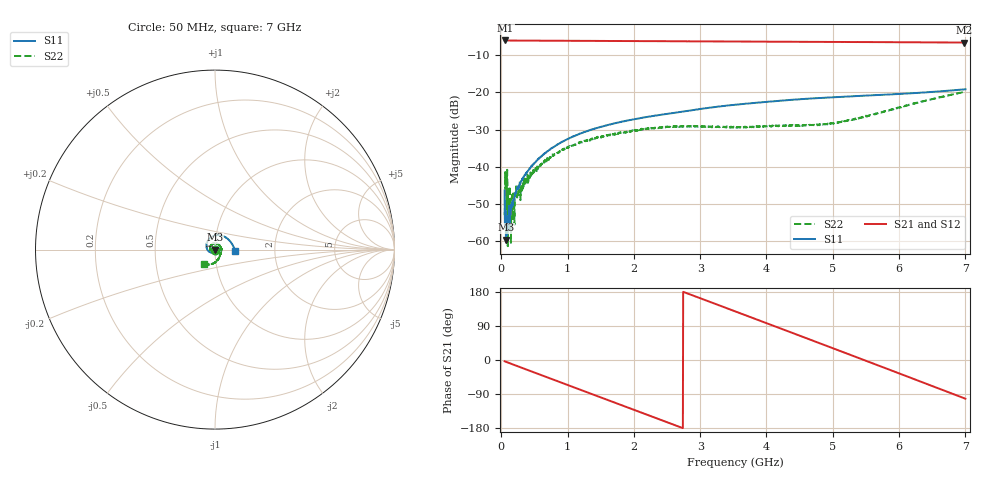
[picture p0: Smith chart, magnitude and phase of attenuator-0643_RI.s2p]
! Params: S11 S21 S12 S22
! Start frequency: 0.050000000 GHz
! Stop frequency:  7.000000000 GHz
! Points: 1601
# HZ S RI R 50
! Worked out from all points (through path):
!   1601 points, 50 MHz to 7 GHz, reference 50 ohm
!   highest |S21| = -6.01 dB at 58.69 MHz (marker M1); lowest = -6.6 dB at 6.974 GHz (marker M2)
!   group delay of S21, straight-line fit = 183 ps
!   lowest |S11| = -59.6 dB at 71.72 MHz (marker M3), VSWR 1.00, Z = 50 - j0.102 ohm
!   |S11| at or under -10 dB: start of sweep to end of sweep
!   |S22| runs from -61.3 to -19.7 dB; largest |S21 - S12| = 0.0015
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5e7  -0.00257 -0.00408  0.4987 -0.0293  0.4986 -0.0292  -0.00102 -0.002
5.86875e7  0.000963 -0.00175  0.4993 -0.0344  0.4993 -0.0345  -0.00732 0.00431
7.171875e7  -0.000214 -0.00102  0.4984 -0.0423  0.4983 -0.042  -0.000729 -0.00402
9.34375e7  0.000876 -0.00172  0.4968 -0.0544  0.4965 -0.0543  0.000241 -0.00498
1.02125e8  3.6e-05 -0.00219  0.4953 -0.0595  0.4959 -0.0595  0.00343 -0.00372
1.108125e8  -0.000512 -0.00196  0.4958 -0.0643  0.4953 -0.0642  0.00261 -0.00187
1.672812e8  -0.0006 -0.00308  0.4895 -0.0969  0.4895 -0.097  0.00245 -0.00306
2.498125e8  -0.000453 -0.005  0.4778 -0.1425  0.478 -0.1425  0.00235 -0.00433
4.84375e8  -0.00333 -0.0103  0.4216 -0.2643  0.4221 -0.2641  -0.00196 -0.0089
7.884375e8  -0.0102 -0.0154  0.3058 -0.3906  0.3057 -0.3909  -0.00834 -0.0113
1.209781e9  -0.0233 -0.0163  0.089 -0.4866  0.0892 -0.4866  -0.0194 -0.00957
1.748406e9  -0.0388 -0.0063  -0.2076 -0.4462  -0.207 -0.4462  -0.0271 0.00585
2.369562e9  -0.0473 0.0145  -0.4457 -0.2022  -0.4459 -0.2019  -0.0197 0.027
2.929906e9  -0.0452 0.0374  -0.4757 0.1048  -0.4757 0.1053  0.000479 0.0354
3.525e9  -0.0326 0.0601  -0.301 0.3788  -0.3006 0.3794  0.0236 0.0244
4.111406e9  -0.00872 0.0756  0.000985 0.4816  0.00161 0.4817  0.0353 0.0036
4.684781e9  0.0201 0.0807  0.2948 0.3777  0.2953 0.3774  0.0332 -0.0146
5.271188e9  0.0501 0.0731  0.4642 0.1089  0.4647 0.1079  0.0271 -0.0331
5.844562e9  0.0756 0.0555  0.4303 -0.2006  0.4298 -0.2013  0.0165 -0.0545
6.439656e9  0.0969 0.0281  0.2017 -0.4266  0.2006 -0.4268  -0.0128 -0.0784
6.973938e9  0.1098 -0.00396  -0.0849 -0.4608  -0.0859 -0.4608  -0.0607 -0.0823
7e9  0.1102 -0.00578  -0.0983 -0.4587  -0.0997 -0.4584  -0.0635 -0.0812
